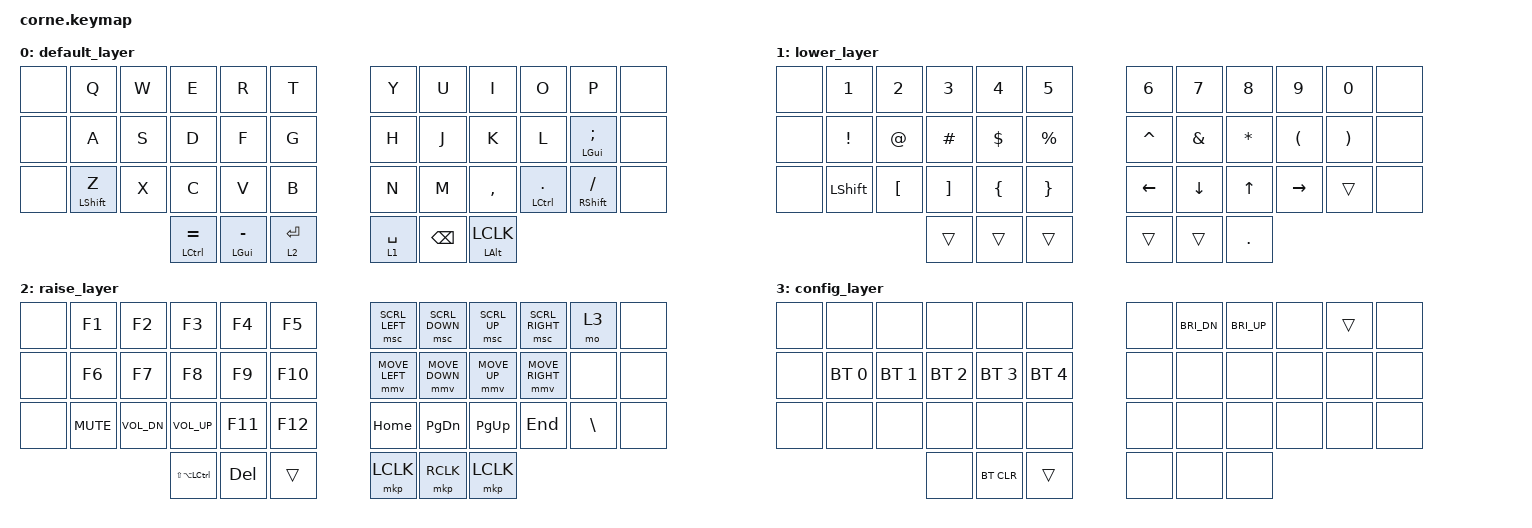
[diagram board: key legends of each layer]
/*
 * Copyright (c) 2020 The ZMK Contributors
 *
 * SPDX-License-Identifier: MIT
 */

#include <behaviors.dtsi>
#include <dt-bindings/zmk/keys.h>
#include <dt-bindings/zmk/bt.h>
#include <dt-bindings/zmk/pointing.h>

&lt {
  quick_tap_ms = <200>;
  tapping-term-ms = <250>;
};

/ {
  hm: hold_mouse {
    compatible = "zmk,behavior-hold-tap";
    #binding-cells = <2>;
    flavor = "hold-preferred";
    tapping-term-ms = <200>;
    quick_tap_ms = <200>;
    bindings = <&kp>, <&mkp>;
  };
};

#define meh LS(LA(LCTRL))

/ {
        combos {
            compatible = "zmk,combos";
            combo_esc {
                timeout-ms = <50>;
                key-positions = <2 3>;
                bindings = <&kp ESC>;
            };
            combo_grave {
                timeout-ms = <50>;
                key-positions = <4 5>;
                bindings = <&kp GRAVE>;
            };
            combo_tab {
                timeout-ms = <50>;
                key-positions = <14 15>;
                bindings = <&kp TAB>;
            };
            combo_dqt {
                timeout-ms = <50>;
                key-positions = <18 19>;
                bindings = <&kp DQT>;
            };
            combo_sqt {
                timeout-ms = <50>;
                key-positions = <19 20>;
                bindings = <&kp SQT>;
            };
        };

        keymap {
                compatible = "zmk,keymap";

                default_layer {
                        bindings = <
    &none &kp Q        &kp W &kp E           &kp R          &kp T        &kp Y       &kp U    &kp I     &kp O         &kp P            &none
    &none &kp A        &kp S &kp D           &kp F          &kp G        &kp H       &kp J    &kp K     &kp L         &mt LGUI SEMI    &none
    &none &mt LSHIFT Z &kp X &kp C           &kp V          &kp B        &kp N       &kp M    &kp COMMA &mt LCTRL DOT &mt RSHIFT SLASH &none
                             &mt LCTRL EQUAL &mt LGUI MINUS &lt 2 ENTER  &lt 1 SPACE &kp BSPC &hm LALT LCLK
                        >;
                };
                lower_layer {
                        bindings = <
    &none &kp N1     &kp N2   &kp N3   &kp N4   &kp N5    &kp N6    &kp N7   &kp N8    &kp N9    &kp N0   &none
    &none &kp EXCL   &kp AT   &kp HASH &kp DLLR &kp PRCNT &kp CARET &kp AMPS &kp ASTRK &kp LPAR  &kp RPAR &none
    &none &kp LSHIFT &kp LBKT &kp RBKT &kp LBRC &kp RBRC  &kp LEFT  &kp DOWN &kp UP    &kp RIGHT &trans   &none
                              &trans   &trans   &trans    &trans    &trans   &kp DOT
                        >;
                };

                raise_layer {
                        bindings = <
    &none &kp F1     &kp F2       &kp F3       &kp F4  &kp F5  &msc SCRL_LEFT &msc SCRL_DOWN &msc SCRL_UP &msc SCRL_RIGHT &mo 3    &none
    &none &kp F6     &kp F7       &kp F8       &kp F9  &kp F10 &mmv MOVE_LEFT &mmv MOVE_DOWN &mmv MOVE_UP &mmv MOVE_RIGHT &none    &none
    &none &kp C_MUTE &kp C_VOL_DN &kp C_VOL_UP &kp F11 &kp F12 &kp HOME       &kp PG_DN      &kp PG_UP    &kp END         &kp BSLH &none
                                  &kp meh      &kp DEL &trans  &mkp LCLK      &mkp RCLK      &mkp LCLK
                        >;
                };

                config_layer {
                        bindings = <
    &none &none        &none        &none        &none        &none        &none &kp C_BRI_DN &kp C_BRI_UP &none &trans &none
    &none &bt BT_SEL 0 &bt BT_SEL 1 &bt BT_SEL 2 &bt BT_SEL 3 &bt BT_SEL 4 &none &none        &none        &none &none  &none
    &none &none        &none        &none        &none        &none        &none &none        &none        &none &none  &none
                                    &none        &bt BT_CLR   &trans       &none &none        &none
                        >;
                };
        };
};
